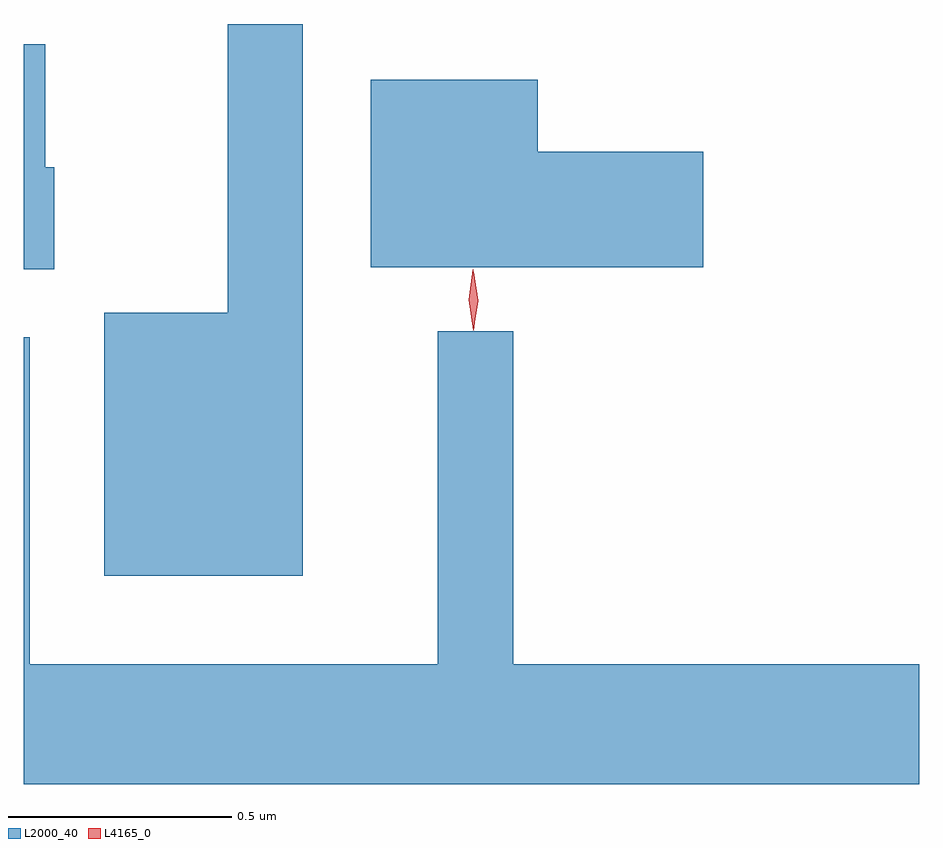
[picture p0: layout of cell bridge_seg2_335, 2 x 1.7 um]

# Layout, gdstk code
import gdstk
lib = gdstk.Library(unit=1e-6, precision=1e-09)
def P(c, l, *ps):  # polygons
    for p in ps: c.add(gdstk.Polygon(p, *l))
L2000_40 = (2000, 40)
L4165_0 = (4165, 0)

bridge_seg2_335 = lib.new_cell('bridge_seg2_335')
P(bridge_seg2_335, L2000_40, [(443.999,1081.094),(443.831,1081.094),(443.831,1080.449),(443.556,1080.449),(443.556,1079.861),(443.999,1079.861)],
  [(443.444,1080.774),(443.424,1080.774),(443.424,1081.049),(443.376,1081.049),(443.376,1080.546),(443.444,1080.546)],
  [(444.894,1080.809),(444.524,1080.809),(444.524,1080.969),(444.151,1080.969),(444.151,1080.551),(444.894,1080.551)],
  [(445.376,1079.664),(444.469,1079.664),(444.469,1080.408),(444.301,1080.408),(444.301,1079.664),(443.389,1079.664),(443.389,1080.394),(443.376,1080.394),(443.376,1079.396),(445.376,1079.396)])
P(bridge_seg2_335, L4165_0, [(444.381,1080.413),(444.38,1080.414),(444.371,1080.476),(444.38,1080.54),(444.38,1080.54),(444.381,1080.54),(444.391,1080.476),(444.381,1080.414)],
  [(444.38,1080.41),(444.37,1080.478),(444.379,1080.545),(444.38,1080.546),(444.38,1080.545),(444.39,1080.478),(444.381,1080.41),(444.381,1080.41)])

lib.write_gds('bridge_seg2_335.gds')
